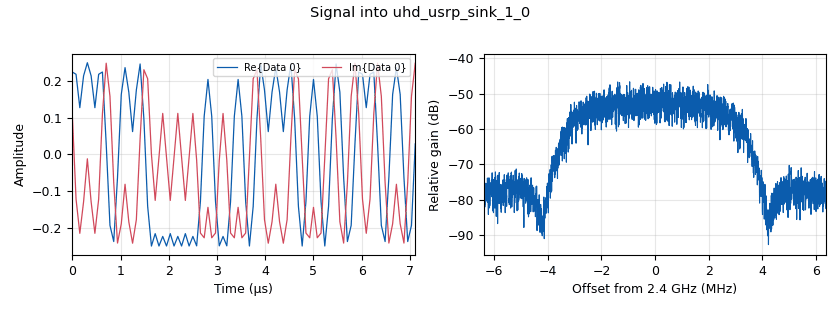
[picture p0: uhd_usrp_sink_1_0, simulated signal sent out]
<?xml version='1.0' encoding='utf-8'?>
<?grc format='1' created='3.7.7'?>
<flow_graph>
<block>
<key>analog_random_source_x</key>
<param><key>id</key><value>analog_random_source_x_1</value></param>
<param><key>_enabled</key><value>False</value></param>
<param><key>type</key><value>byte</value></param>
<param><key>min</key><value>0</value></param>
<param><key>max</key><value>256</value></param>
<param><key>num_samps</key><value>1000</value></param>
<param><key>repeat</key><value>True</value></param>
</block>
<block>
<key>variable</key>
<param><key>id</key><value>samp_rate</value></param>
<param><key>value</key><value>1600000</value></param>
</block>
<block>
<key>blocks_multiply_const_vxx</key>
<param><key>id</key><value>blocks_multiply_const_vxx_0_0</value></param>
<param><key>_enabled</key><value>False</value></param>
<param><key>type</key><value>complex</value></param>
<param><key>const</key><value>1.0/4</value></param>
</block>
<block>
<key>digital_gfsk_mod</key>
<param><key>id</key><value>digital_gfsk_mod_0</value></param>
<param><key>_enabled</key><value>False</value></param>
<param><key>samples_per_symbol</key><value>2</value></param>
<param><key>sensitivity</key><value>1.0</value></param>
<param><key>bt</key><value>0.35</value></param>
</block>
<block>
<key>uhd_usrp_sink</key>
<param><key>id</key><value>uhd_usrp_sink_1</value></param>
<param><key>_enabled</key><value>False</value></param>
<param><key>type</key><value>fc32</value></param>
<param><key>stream_args</key><value>addr=192.168.60.2</value></param>
<param><key>dev_args</key><value>""</value></param>
<param><key>sync</key><value></value></param>
<param><key>clock_rate</key><value>0.0</value></param>
<param><key>samp_rate</key><value>samp_rate*8</value></param>
<param><key>center_freq0</key><value>usrp_int_freq</value></param>
<param><key>gain0</key><value>30</value></param>
<param><key>norm_gain0</key><value>False</value></param>
<param><key>ant0</key><value></value></param>
<param><key>len_tag_name</key><value></value></param>
</block>
<block>
<key>variable_qtgui_range</key>
<param><key>id</key><value>usrp_int_freq</value></param>
<param><key>value</key><value>2400000000</value></param>
<param><key>start</key><value>2400000000</value></param>
<param><key>stop</key><value>2480000000</value></param>
<param><key>step</key><value>5000000</value></param>
<param><key>orient</key><value>Qt.Horizontal</value></param>
<param><key>min_len</key><value>100</value></param>
</block>
<block>
<key>options</key>
<param><key>id</key><value>interferer</value></param>
<param><key>generate_options</key><value>qt_gui</value></param>
<param><key>category</key><value>Custom</value></param>
</block>
<block>
<key>uhd_usrp_sink</key>
<param><key>id</key><value>uhd_usrp_sink_1_0</value></param>
<param><key>type</key><value>fc32</value></param>
<param><key>stream_args</key><value>addr=192.168.60.2</value></param>
<param><key>dev_args</key><value>""</value></param>
<param><key>sync</key><value></value></param>
<param><key>clock_rate</key><value>0.0</value></param>
<param><key>samp_rate</key><value>samp_rate*8</value></param>
<param><key>center_freq0</key><value>usrp_int_freq</value></param>
<param><key>gain0</key><value>30</value></param>
<param><key>norm_gain0</key><value>False</value></param>
<param><key>ant0</key><value></value></param>
<param><key>len_tag_name</key><value></value></param>
</block>
<block>
<key>digital_gfsk_mod</key>
<param><key>id</key><value>digital_gfsk_mod_0_0</value></param>
<param><key>samples_per_symbol</key><value>2</value></param>
<param><key>sensitivity</key><value>1.0</value></param>
<param><key>bt</key><value>0.35</value></param>
</block>
<block>
<key>blocks_multiply_const_vxx</key>
<param><key>id</key><value>blocks_multiply_const_vxx_0_0_0</value></param>
<param><key>type</key><value>complex</value></param>
<param><key>const</key><value>1.0/4</value></param>
</block>
<block>
<key>analog_random_source_x</key>
<param><key>id</key><value>analog_random_source_x_1_0</value></param>
<param><key>type</key><value>byte</value></param>
<param><key>min</key><value>0</value></param>
<param><key>max</key><value>256</value></param>
<param><key>num_samps</key><value>1000</value></param>
<param><key>repeat</key><value>True</value></param>
</block>
<connection><source_block_id>blocks_multiply_const_vxx_0_0</source_block_id><sink_block_id>uhd_usrp_sink_1</sink_block_id><source_key>0</source_key><sink_key>0</sink_key></connection>
<connection><source_block_id>digital_gfsk_mod_0</source_block_id><sink_block_id>blocks_multiply_const_vxx_0_0</sink_block_id><source_key>0</source_key><sink_key>0</sink_key></connection>
<connection><source_block_id>analog_random_source_x_1</source_block_id><sink_block_id>digital_gfsk_mod_0</sink_block_id><source_key>0</source_key><sink_key>0</sink_key></connection>
<connection><source_block_id>analog_random_source_x_1_0</source_block_id><sink_block_id>digital_gfsk_mod_0_0</sink_block_id><source_key>0</source_key><sink_key>0</sink_key></connection>
<connection><source_block_id>digital_gfsk_mod_0_0</source_block_id><sink_block_id>blocks_multiply_const_vxx_0_0_0</sink_block_id><source_key>0</source_key><sink_key>0</sink_key></connection>
<connection><source_block_id>blocks_multiply_const_vxx_0_0_0</source_block_id><sink_block_id>uhd_usrp_sink_1_0</sink_block_id><source_key>0</source_key><sink_key>0</sink_key></connection>
</flow_graph>
